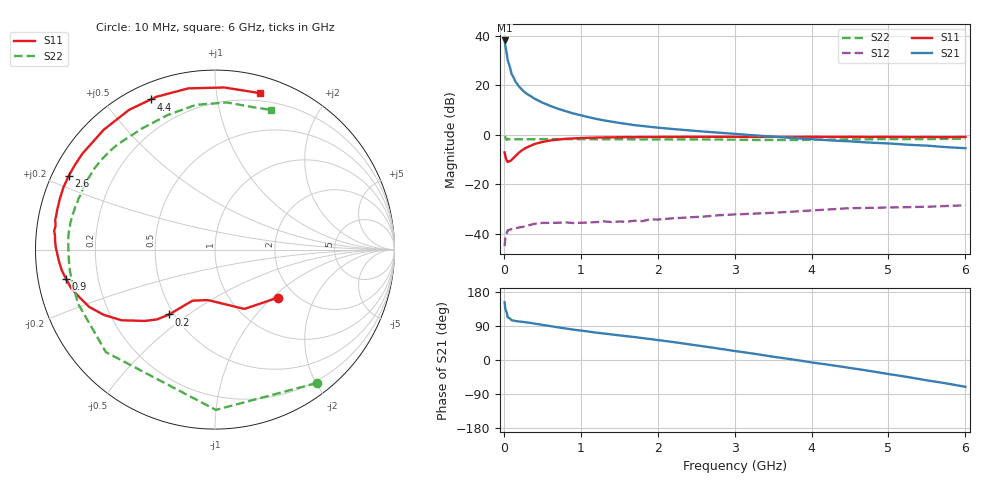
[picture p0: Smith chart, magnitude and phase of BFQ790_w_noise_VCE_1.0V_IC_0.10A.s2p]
! Infineon Technologies  Discrete & RF Semiconductors
! BFQ790
! VCE =  1.0 V,  IC = 0.10 A
! Common Emitter S-Parameters:  May 2015
# GHz  S  MA  R  50
!  f  S11  S21  S12  S22
! GHz  MAG  ANG  MAG  ANG  MAG  ANG  MAG  ANG
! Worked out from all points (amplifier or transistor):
!   77 points, 10 MHz to 6 GHz, reference 50 ohm
!   highest |S21| = 38.0 dB at 10 MHz (marker M1)
!   |S21| within 3 dB of that: start of sweep to 24.58 MHz
!   unconditionally stable (mu >= 1): 258.3 MHz to 361.6 MHz; 1.009 GHz to end of sweep
!   at 130 MHz: K = 0.70, MSG = 30.4 dB, |S12| = -37.9 dB
!   at 2.2 GHz: K = 1.24, MAG = 15.1 dB, |S12| = -33.6 dB
!   at 6 GHz: K = 1.28, MAG = 8.3 dB, |S12| = -28.4 dB
!   lowest NFmin = 2.59 dB at 1.5 GHz
!   S11 on the Smith chart (normalised r, x): 10 MHz: 1.64, -1.09; 200 MHz: 0.47, -0.42; 900 MHz: 0.08, -0.10; 2.6 GHz: 0.05, +0.24; 4.4 GHz: 0.07, +0.66; 6 GHz: 0.13, +1.32
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0.01  0.442 -37.2  79.89 152.4  0.0057 63.0  0.9356 -52.6
0.02  0.3689 -63.6  61.62 133.7  0.0089 45.6  0.8931 -89.7
0.05  0.284 -98.1  31.68 112.7  0.0119 22.1  0.8341 -136.8
0.1  0.3111 -113.8  17.04 104.9  0.0126 16.1  0.8205 -158.5
0.15  0.3722 -120.3  11.88 102.9  0.013 15.1  0.8158 -166.8
0.2  0.4423 -125.2  9.3 101.5  0.0136 16.2  0.8168 -171.3
0.25  0.5055 -129.7  7.746 100.5  0.014 16.0  0.8164 -174.4
0.3  0.5584 -134.6  6.675 99.2  0.0148 14.2  0.816 -176.7
0.4  0.6528 -142.9  5.35 96.0  0.0161 11.3  0.817 179.7
0.5  0.7185 -149.6  4.466 92.8  0.0168 9.6  0.8182 177.1
0.6  0.7694 -155.4  3.855 89.6  0.0168 9.8  0.8204 174.8
0.7  0.8007 -160.6  3.37 86.3  0.0169 10.5  0.82 172.8
0.9  0.8463 -169.0  2.708 80.2  0.0167 4.7  0.819 169.4
1.1  0.8713 -175.6  2.273 75.0  0.0171 6.0  0.817 166.2
1.5  0.8944 175.2  1.74 65.1  0.0179 6.8  0.8109 160.7
2.1  0.9076 163.8  1.352 50.1  0.0202 4.3  0.8088 151.7
2.6  0.9127 153.4  1.164 35.9  0.0225 0.8  0.8073 142.0
3.1  0.909 141.9  1.019 21.0  0.0252 -5.8  0.794 130.5
4.1  0.9111 119.5  0.798 -9.1  0.0305 -19.3  0.7958 107.0
4.4  0.9097 113.1  0.751 -17.9  0.0326 -24.7  0.807 99.8
5.1  0.9058 96.9  0.655 -40.1  0.0345 -39.2  0.8202 83.4
6  0.9073 73.8  0.538 -70.8  0.0381 -58.4  0.8385 68.1
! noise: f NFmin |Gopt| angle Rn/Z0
0.45  3.96  0.39  132  0.4
0.9  2.84  0.53  163  0.14
1.5  2.59  0.65  -175  0.07
1.8  2.71  0.67  -170  0.08
2.6  3.14  0.72  -153  0.2
3.5  3.78  0.82  -136  0.49
